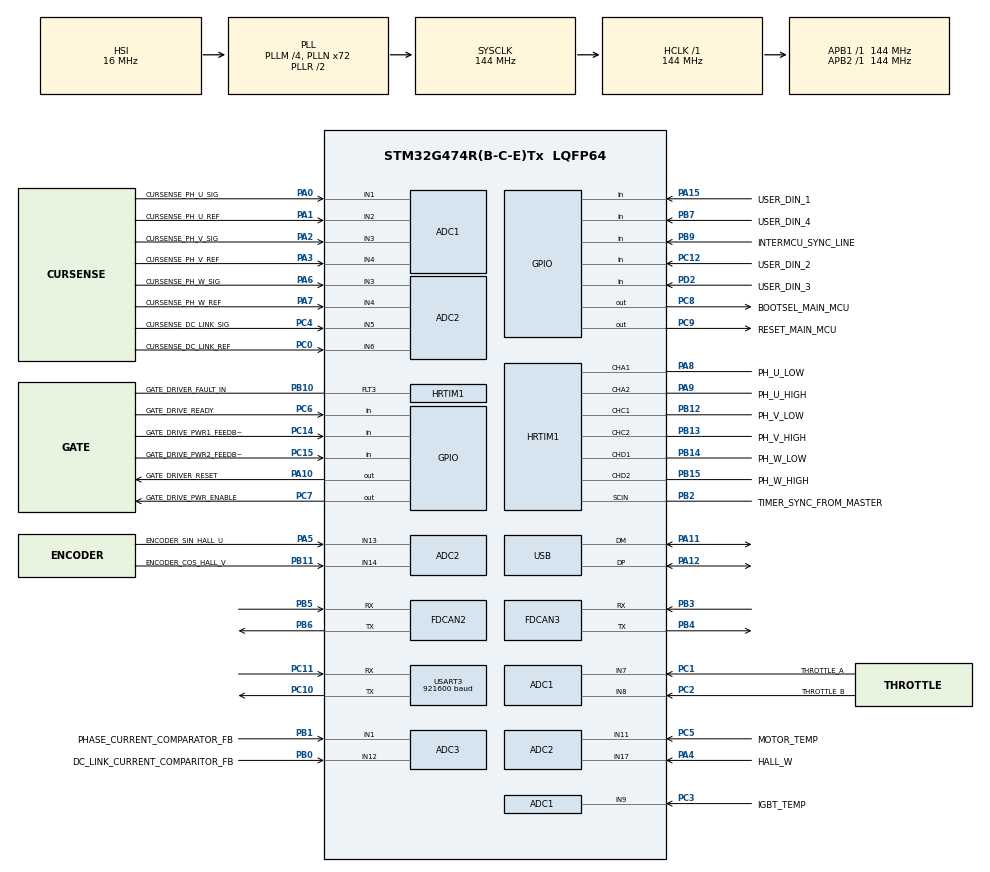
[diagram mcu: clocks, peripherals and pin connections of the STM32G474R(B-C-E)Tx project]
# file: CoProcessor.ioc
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ADC1.Channel-0\#ChannelRegularConversion=ADC_CHANNEL_2
ADC1.NbrOfConversionFlag=1
ADC1.master=1
ADC2.Channel-0\#ChannelRegularConversion=ADC_CHANNEL_3
ADC2.NbrOfConversionFlag=1
ADC2.OffsetNumber-0\#ChannelRegularConversion=ADC_OFFSET_NONE
ADC2.Rank-0\#ChannelRegularConversion=1
ADC2.SamplingTime-0\#ChannelRegularConversion=ADC_SAMPLETIME_2CYCLES_5
ADC3.Channel-0\#ChannelRegularConversion=ADC_CHANNEL_12
ADC3.NbrOfConversionFlag=1
ADC3.OffsetNumber-0\#ChannelRegularConversion=ADC_OFFSET_NONE
ADC3.Rank-0\#ChannelRegularConversion=1
ADC3.SamplingTime-0\#ChannelRegularConversion=ADC_SAMPLETIME_2CYCLES_5
ADC3.master=1
FDCAN2.CalculateBaudRateNominal=2999999
FDCAN2.CalculateTimeBitNominal=333
FDCAN2.CalculateTimeQuantumNominal=111.11111111111111
FDCAN3.CalculateBaudRateNominal=2999999
FDCAN3.CalculateTimeBitNominal=333
FDCAN3.CalculateTimeQuantumNominal=111.11111111111111
Mcu.Family=STM32G4
Mcu.Name=STM32G474R(B-C-E)Tx
Mcu.Package=LQFP64
NVIC.PriorityGroup=NVIC_PRIORITYGROUP_4
NVIC.USB_LP_IRQn=true\:0\:0\:false\:false\:true\:false\:true\:true
PA0.GPIO_Label=CURSENSE_PH_U_SIG
PA0.GPIO_Mode=GPIO_MODE_ANALOG
PA0.GPIO_Pd=GPIO_NOPULL
PA0.Signal=SharedAnalog_PA0
PA1.GPIO_Label=CURSENSE_PH_U_REF
PA1.Mode=IN2-Single-Ended
PA1.Signal=ADC1_IN2
PA10.GPIO_Label=GATE_DRIVER_RESET
PA10.Signal=GPIO_Output
PA11.Mode=Device
PA11.Signal=USB_DM
PA12.Mode=Device
PA12.Signal=USB_DP
PA13.Mode=Serial_Wire
PA13.Signal=SYS_JTMS-SWDIO
PA14.Mode=Serial_Wire
PA14.Signal=SYS_JTCK-SWCLK
PA15.GPIO_Label=USER_DIN_1
PA15.Signal=GPIO_Input
PA2.GPIO_Label=CURSENSE_PH_V_SIG
PA2.Mode=IN3-Single-Ended
PA2.Signal=ADC1_IN3
PA3.GPIO_Label=CURSENSE_PH_V_REF
PA3.Mode=IN4-Single-Ended
PA3.Signal=ADC1_IN4
PA4.GPIO_Label=HALL_W
PA4.Mode=IN17-Single-Ended
PA4.Signal=ADC2_IN17
PA5.GPIO_Label=ENCODER_SIN_HALL_U
PA5.Mode=IN13-Single-Ended
PA5.Signal=ADC2_IN13
PA6.GPIO_Label=CURSENSE_PH_W_SIG
PA6.Mode=IN3-Single-Ended
PA6.Signal=ADC2_IN3
PA7.GPIO_Label=CURSENSE_PH_W_REF
PA7.Mode=IN4-Single-Ended
PA7.Signal=ADC2_IN4
PA8.GPIO_Label=PH_U_LOW
PA8.GPIO_Mode=GPIO_MODE_AF_PP
PA8.GPIO_PuPd=GPIO_NOPULL
PA8.GPIO_Speed_High_Default=GPIO_SPEED_FREQ_VERY_HIGH
PA8.Mode=Output_TA1TA2
PA8.Signal=HRTIM1_CHA1
PA9.GPIO_Label=PH_U_HIGH
PA9.GPIO_Mode=GPIO_MODE_AF_PP
PA9.GPIO_PuPd=GPIO_NOPULL
PA9.GPIO_Speed_High_Default=GPIO_SPEED_FREQ_VERY_HIGH
PA9.Mode=Output_TA1TA2
PA9.Signal=HRTIM1_CHA2
PB0.GPIO_Label=DC_LINK_CURRENT_COMPARITOR_FB
PB0.Mode=IN12-Single-Ended
PB0.Signal=ADC3_IN12
PB1.GPIO_Label=PHASE_CURRENT_COMPARATOR_FB
PB1.Signal=SharedAnalog_PB1
PB10.GPIO_Label=GATE_DRIVER_FAULT_IN
PB10.Mode=Fault_Enable3
PB10.Signal=HRTIM1_FLT3
PB11.GPIO_Label=ENCODER_COS_HALL_V
PB11.Mode=IN14-Single-Ended
PB11.Signal=ADC2_IN14
PB12.GPIO_Label=PH_V_LOW
PB12.Mode=Output_TC1TC2
PB12.Signal=HRTIM1_CHC1
PB13.GPIO_Label=PH_V_HIGH
PB13.Mode=Output_TC1TC2
PB13.Signal=HRTIM1_CHC2
PB14.GPIO_Label=PH_W_LOW
PB14.Mode=Output_TD1TD2
PB14.Signal=HRTIM1_CHD1
PB15.GPIO_Label=PH_W_HIGH
PB15.Mode=Output_TD1TD2
PB15.Signal=HRTIM1_CHD2
PB2.GPIO_Label=TIMER_SYNC_FROM_MASTER
PB2.Mode=SCINmode
PB2.Signal=HRTIM1_SCIN
PB3.Mode=FDCAN_Activate
PB3.Signal=FDCAN3_RX
PB4.Mode=FDCAN_Activate
PB4.Signal=FDCAN3_TX
PB5.Mode=FDCAN_Activate
PB5.Signal=FDCAN2_RX
PB6.Mode=FDCAN_Activate
PB6.Signal=FDCAN2_TX
PB7.GPIO_Label=USER_DIN_4
PB7.Signal=GPIO_Input
PB9.GPIO_Label=INTERMCU_SYNC_LINE
PB9.Signal=GPIO_Input
PC0.GPIO_Label=CURSENSE_DC_LINK_REF
PC0.Mode=IN6-Single-Ended
PC0.Signal=ADC2_IN6
PC1.GPIO_Label=THROTTLE_A
PC1.Mode=IN7-Single-Ended
PC1.Signal=ADC1_IN7
PC10.Mode=Multiprocessor_communication
PC10.Signal=USART3_TX
PC11.Mode=Multiprocessor_communication
PC11.Signal=USART3_RX
PC12.GPIO_Label=USER_DIN_2
PC12.Signal=GPIO_Input
PC13.Mode=SYS_WakeUp1
PC13.Signal=SYS_WKUP2
PC14-OSC32_IN.GPIO_Label=GATE_DRIVE_PWR1_FEEDBACK
PC14-OSC32_IN.Signal=GPIO_Input
PC15-OSC32_OUT.GPIO_Label=GATE_DRIVE_PWR2_FEEDBACK
PC15-OSC32_OUT.Signal=GPIO_Input
PC2.GPIO_Label=THROTTLE_B
PC2.Mode=IN8-Single-Ended
PC2.Signal=ADC1_IN8
PC3.GPIO_Label=IGBT_TEMP
PC3.Mode=IN9-Single-Ended
PC3.Signal=ADC1_IN9
PC4.GPIO_Label=CURSENSE_DC_LINK_SIG
PC4.Mode=IN5-Single-Ended
PC4.Signal=ADC2_IN5
PC5.GPIO_Label=MOTOR_TEMP
PC5.Mode=IN11-Single-Ended
PC5.Signal=ADC2_IN11
PC6.GPIO_Label=GATE_DRIVE_READY
PC6.Signal=GPIO_Input
PC7.GPIO_Label=GATE_DRIVE_PWR_ENABLE
PC7.Signal=GPIO_Output
PC8.GPIO_Label=BOOTSEL_MAIN_MCU
PC8.Signal=GPIO_Output
PC9.GPIO_Label=RESET_MAIN_MCU
PC9.Signal=GPIO_Output
PD2.GPIO_Label=USER_DIN_3
PD2.Signal=GPIO_Input
PF0-OSC_IN.Mode=HSE-External-Oscillator
PF0-OSC_IN.Signal=RCC_OSC_IN
PF1-OSC_OUT.Mode=HSE-External-Oscillator
PF1-OSC_OUT.Signal=RCC_OSC_OUT
ProjectManager.HeapSize=0x200
ProjectManager.StackSize=0x400
ProjectManager.TargetToolchain=CMake
RCC.ADC12Freq_Value=144000000
RCC.ADC345Freq_Value=144000000
RCC.AHBFreq_Value=144000000
RCC.APB1Freq_Value=144000000
RCC.APB1TimFreq_Value=144000000
RCC.APB2Freq_Value=144000000
RCC.APB2TimFreq_Value=144000000
RCC.CK48CLockSelection=RCC_USBCLKSOURCE_HSI48
RCC.CortexFreq_Value=144000000
RCC.EXTERNAL_CLOCK_VALUE=12288000
RCC.HCLKFreq_Value=144000000
RCC.HSE_VALUE=8000000
RCC.HSI48_VALUE=48000000
RCC.HSI_VALUE=16000000
RCC.LSE_VALUE=32768
RCC.PLLM=RCC_PLLM_DIV4
RCC.PLLN=72
RCC.PLLQ=RCC_PLLQ_DIV6
RCC.SYSCLKFreq_VALUE=144000000
RCC.SYSCLKSource=RCC_SYSCLKSOURCE_PLLCLK
RCC.USBFreq_Value=48000000
RCC.VCOOutputFreq_Value=288000000
SH.SharedAnalog_PA0.0=COMP3_INP
SH.SharedAnalog_PA0.1=ADC1_IN1,IN1-Single-Ended
SH.SharedAnalog_PB1.0=GPIO_Analog
SH.SharedAnalog_PB1.1=ADC3_IN1,IN1-Single-Ended
USART3.BaudRate=921600
USART3.VirtualMode-Asynchronous=VM_ASYNC
USB_DEVICE.CLASS_NAME_FS=CDC
USB_DEVICE.MANUFACTURER_STRING=OpenVVVF
USB_DEVICE.PID_CDC_FS=0x0001
USB_DEVICE.PRODUCT_STRING_CDC_FS=Control Board Gen 7
USB_DEVICE.VID=0xCAFE
USB_DEVICE.VirtualMode=Cdc
USB_DEVICE.VirtualModeFS=Cdc_FS
VP_ADC1_TempSens_Input.Mode=IN-TempSens
VP_CORDIC_VS_CORDIC.Mode=CORDIC_Activate
VP_CRC_VS_CRC.Mode=CRC_Activate
VP_DAC1_VS_DACI1.Mode=DAC_OUT1_Int
VP_FMAC_VS_FMAC.Mode=FMAC_Activate
VP_RNG_VS_RNG.Mode=RNG_Activate
VP_SYS_VS_DBSignals.Mode=DisableDeadBatterySignals
VP_TIM1_VS_ClockSourceITR.Mode=TriggerSource_ITR0
VP_TIM1_VS_ControllerModeTrigger.Mode=Trigger Mode
VP_USB_DEVICE_VS_USB_DEVICE_CDC_FS.Mode=CDC_FS
board=custom

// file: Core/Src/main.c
/* USER CODE BEGIN Header */
/**
  ******************************************************************************
  * @file           : main.c
  * @brief          : Main program body
  ******************************************************************************
  * @attention
  *
  * Copyright (c) 2026 STMicroelectronics.
  * All rights reserved.
  *
  * This software is licensed under terms that can be found in the LICENSE file
  * in the root directory of this software component.
  * If no LICENSE file comes with this software, it is provided AS-IS.
  *
  ******************************************************************************
  */
/* USER CODE END Header */
#include "main.h"
#include "adc.h"
#include "cordic.h"
#include "crc.h"
#include "dac.h"
#include "fdcan.h"
#include "fmac.h"
#include "hrtim.h"
#include "rng.h"
#include "tim.h"
#include "usart.h"
#include "usb_device.h"
#include "gpio.h"

/* USER CODE BEGIN Includes */
#include "usbd_cdc_if.h"
#include "safety_hardware.h"
/* USER CODE END Includes */

void SystemClock_Config(void);

int main(void)
{

  /* MCU Configuration--------------------------------------------------------*/

  /* Reset of all peripherals, Initializes the Flash interface and the Systick. */
  HAL_Init();

  /* Drive the second series gate-power switch off before clocks, USB, or
   * generated peripheral initialization can fail. Hardware reset-state
   * behavior still needs a board-level verification. */
  SafetyHardware_ForceOff();

  /* Configure the system clock */
  SystemClock_Config();

  /* Initialize all configured peripherals */
  MX_GPIO_Init();
  SafetyHardware_Init();
  MX_ADC1_Init();
  MX_ADC2_Init();
  MX_FDCAN2_Init();
  MX_FDCAN3_Init();
  MX_HRTIM1_Init();
  MX_USART3_UART_Init();
  MX_ADC3_Init();
  MX_CORDIC_Init();
  MX_CRC_Init();
  MX_DAC1_Init();
  MX_FMAC_Init();
  MX_RNG_Init();
  MX_TIM1_Init();
  MX_USB_Device_Init();
  /* USER CODE BEGIN 2 */
  /* Always boot the main MCU application. Port A is the transparent UART
     bridge; port B controls BOOTSEL/reset without disturbing port A. */
  CDC_DebugReportStartup();

  /* Gen7 bring-up: do not let the coprocessor load or pull down
     the main processor PWM lines and the shared gate-drive breakin net. */
  GPIO_InitTypeDef GPIO_InitStruct = {0};
  __HAL_RCC_GPIOA_CLK_ENABLE();
  __HAL_RCC_GPIOB_CLK_ENABLE();

  GPIO_InitStruct.Pin = PH_U_LOW_Pin|PH_U_HIGH_Pin;
  GPIO_InitStruct.Mode = GPIO_MODE_INPUT;
  GPIO_InitStruct.Pull = GPIO_NOPULL;
  HAL_GPIO_Init(GPIOA, &GPIO_InitStruct);

  GPIO_InitStruct.Pin = PH_V_LOW_Pin|PH_V_HIGH_Pin|PH_W_LOW_Pin|PH_W_HIGH_Pin;
  GPIO_InitStruct.Mode = GPIO_MODE_INPUT;
  GPIO_InitStruct.Pull = GPIO_NOPULL;
  HAL_GPIO_Init(GPIOB, &GPIO_InitStruct);

  /* PB10 is the gate-driver /FAULT input, not a coprocessor fault output. */
  GPIO_InitStruct.Pin = GATE_DRIVER_FAULT_IN_Pin;
  GPIO_InitStruct.Mode = GPIO_MODE_INPUT;
  GPIO_InitStruct.Pull = GPIO_PULLUP;
  GPIO_InitStruct.Speed = GPIO_SPEED_FREQ_LOW;
  HAL_GPIO_Init(GATE_DRIVER_FAULT_IN_GPIO_Port, &GPIO_InitStruct);
  /* USER CODE END 2 */

  /* Infinite loop */
  /* USER CODE BEGIN WHILE */
  while (1)
  {
    SafetyHardware_Update();
    CDC_Bridge_Process();
    /* USER CODE END WHILE */

  }
}

void SystemClock_Config(void)
{
  RCC_OscInitTypeDef RCC_OscInitStruct = {0};
  RCC_ClkInitTypeDef RCC_ClkInitStruct = {0};

  /** Configure the main internal regulator output voltage
  */
  HAL_PWREx_ControlVoltageScaling(PWR_REGULATOR_VOLTAGE_SCALE1);

  /** Initializes the RCC Oscillators according to the specified parameters
  * in the RCC_OscInitTypeDef structure.
  */
  RCC_OscInitStruct.OscillatorType = RCC_OSCILLATORTYPE_HSI|RCC_OSCILLATORTYPE_HSI48;
  RCC_OscInitStruct.HSIState = RCC_HSI_ON;
  RCC_OscInitStruct.HSICalibrationValue = RCC_HSICALIBRATION_DEFAULT;
  RCC_OscInitStruct.HSI48State = RCC_HSI48_ON;
  RCC_OscInitStruct.PLL.PLLState = RCC_PLL_ON;
  RCC_OscInitStruct.PLL.PLLSource = RCC_PLLSOURCE_HSI;
  RCC_OscInitStruct.PLL.PLLM = RCC_PLLM_DIV4;
  RCC_OscInitStruct.PLL.PLLN = 72;
  RCC_OscInitStruct.PLL.PLLP = RCC_PLLP_DIV2;
  RCC_OscInitStruct.PLL.PLLQ = RCC_PLLQ_DIV6;
  RCC_OscInitStruct.PLL.PLLR = RCC_PLLR_DIV2;
  if (HAL_RCC_OscConfig(&RCC_OscInitStruct) != HAL_OK)
  {
    Error_Handler();
  }

  /** Initializes the CPU, AHB and APB buses clocks
  */
  RCC_ClkInitStruct.ClockType = RCC_CLOCKTYPE_HCLK|RCC_CLOCKTYPE_SYSCLK
                              |RCC_CLOCKTYPE_PCLK1|RCC_CLOCKTYPE_PCLK2;
  RCC_ClkInitStruct.SYSCLKSource = RCC_SYSCLKSOURCE_PLLCLK;
  RCC_ClkInitStruct.AHBCLKDivider = RCC_SYSCLK_DIV1;
  RCC_ClkInitStruct.APB1CLKDivider = RCC_HCLK_DIV1;
  RCC_ClkInitStruct.APB2CLKDivider = RCC_HCLK_DIV1;

  if (HAL_RCC_ClockConfig(&RCC_ClkInitStruct, FLASH_LATENCY_4) != HAL_OK)
  {
    Error_Handler();
  }
}

void Error_Handler(void)
{
  /* USER CODE BEGIN Error_Handler_Debug */
  /* User can add his own implementation to report the HAL error return state */
  SafetyHardware_ForceOff();
  __disable_irq();
  while (1)
  {
  }
  /* USER CODE END Error_Handler_Debug */
}
